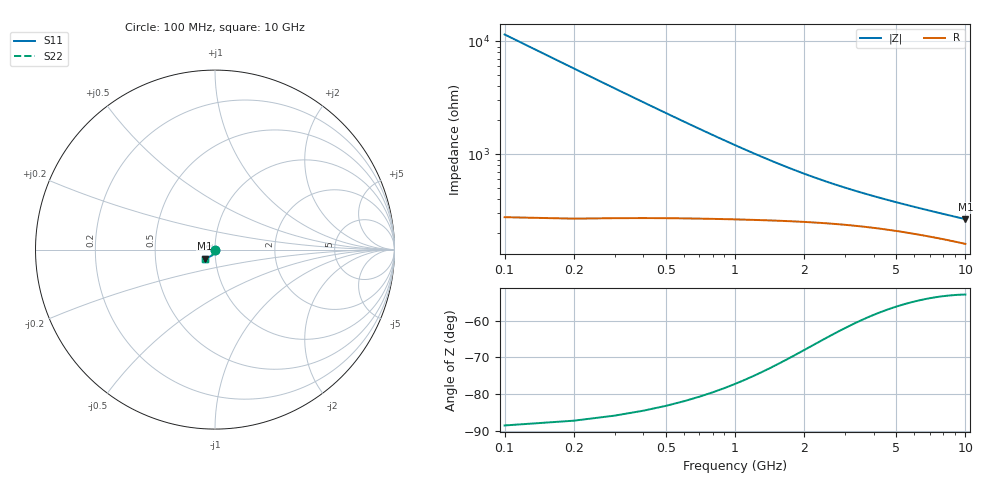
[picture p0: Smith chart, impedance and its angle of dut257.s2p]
! Touchstone file exported from HFSS 2024.1.0
!  File:  C:/UserFiles/LocalFiles/RDL_TSV_Batchsim/temp_TSV1_257_1778769367.aedt
!  Generated:  10:39:36 PM May 14, 2026
!  Design:  TSV1
!  Project:  temp_TSV1_257_1778769367
!  Setup:  Setup1
!  Solution:  Sweep
! Variables:
!  dtsv = 17.53um
!  hbump = 3um
!  htsv = 64.78um
!  lrdl = 252.1521522um
!  p = 40
!  p1 = 42.73um
!  t = 500um
!  trdl = 3um
!  wrdl = 24.89489489um
# GHz S MA R 50.000000
! Terminal data exported
! Port[1] = TSV22_T1
! Port[2] = TSV22_T2
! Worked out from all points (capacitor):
!   100 points, 100 MHz to 10 GHz, reference 50 ohm
!   read as one part in shunt: C = 138 fF near 100 MHz
!   lowest |Z| = 267 ohm at 10 GHz (marker M1)
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0.1  0.00195 -89.4  0.9999 -0.1  0.9999 -0.1  0.00195 -89.4
! Gamma 0 0 0 0
! Port Impedance 50 0 50 0
0.2  0.003918 -91.8  0.9997 -0.3  0.9997 -0.3  0.003918 -91.8
0.3  0.005874 -93.7  0.9994 -0.4  0.9994 -0.4  0.005874 -93.7
0.4  0.00781 -95.4  0.999 -0.5  0.999 -0.5  0.00781 -95.4
0.5  0.009721 -97.1  0.9985 -0.7  0.9985 -0.7  0.009721 -97.1
0.6  0.0116 -98.6  0.998 -0.8  0.998 -0.8  0.0116 -98.6
0.7  0.01345 -100.1  0.9973 -0.9  0.9973 -0.9  0.01345 -100.1
0.8  0.01525 -101.6  0.9966 -1.0  0.9966 -1.0  0.01525 -101.6
0.9  0.01701 -103.0  0.9959 -1.1  0.9959 -1.1  0.01701 -103.0
1.1  0.0204 -105.7  0.9942 -1.4  0.9942 -1.4  0.0204 -105.7
1.4  0.02512 -109.5  0.9914 -1.7  0.9914 -1.7  0.02512 -109.5
1.6  0.02801 -111.8  0.9894 -1.8  0.9894 -1.8  0.02801 -111.8
1.8  0.0307 -113.9  0.9874 -2.0  0.9874 -2.0  0.0307 -113.9
2.1  0.0344 -116.7  0.9845 -2.2  0.9845 -2.2  0.0344 -116.7
2.5  0.03874 -120.0  0.9807 -2.5  0.9807 -2.5  0.03874 -120.0
2.9  0.04253 -122.7  0.9771 -2.7  0.9771 -2.7  0.04253 -122.7
3.4  0.04665 -125.5  0.9731 -2.9  0.9731 -2.9  0.04665 -125.5
4.2  0.05217 -128.9  0.9676 -3.3  0.9676 -3.3  0.05217 -128.9
5.1  0.05733 -131.7  0.9624 -3.6  0.9624 -3.6  0.05733 -131.7
6.7  0.06473 -135.1  0.9549 -4.1  0.9549 -4.1  0.06473 -135.1
8.4  0.071 -137.4  0.9488 -4.6  0.9488 -4.6  0.071 -137.4
10  0.07592 -138.8  0.9442 -5.1  0.9442 -5.1  0.07592 -138.8
